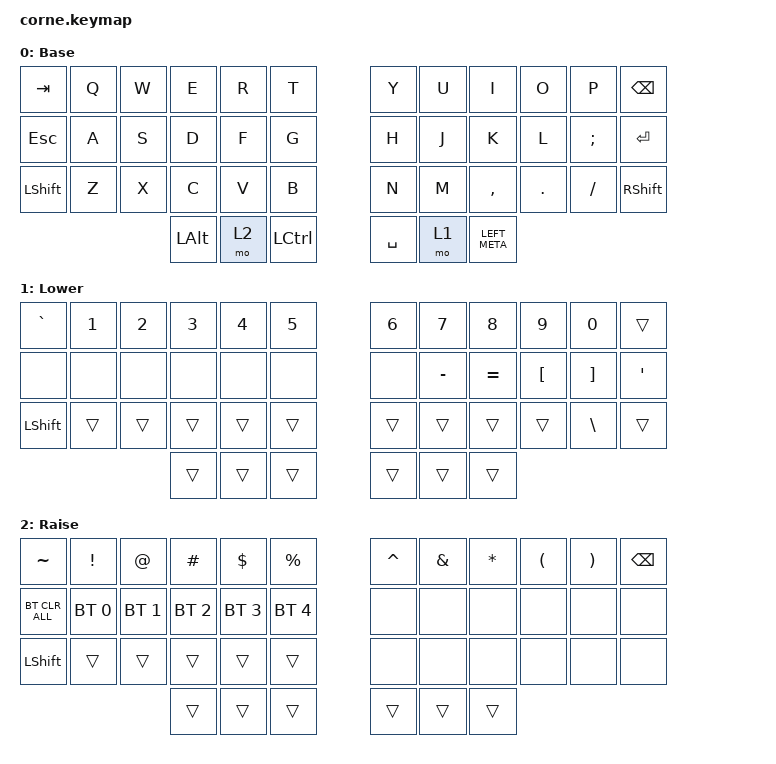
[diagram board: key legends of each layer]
/*
 * Copyright (c) 2020 The ZMK Contributors
 *
 * SPDX-License-Identifier: MIT
 */

#include <behaviors.dtsi>
#include <dt-bindings/zmk/bt.h>
#include <dt-bindings/zmk/keys.h>

/ {
    keymap {
        compatible = "zmk,keymap";

        default_layer {
            // -----------------------------------------------------------------------------------------
            // |  TAB |  Q  |  W  |  E  |  R  |  T  |   |  Y  |  U   |  I  |  O  |  P  | BKSP |
            // | CTRL |  A  |  S  |  D  |  F  |  G  |   |  H  |  J   |  K  |  L  |  ;  |  '   |
            // | SHFT |  Z  |  X  |  C  |  V  |  B  |   |  N  |  M   |  ,  |  .  |  /  | ESC  |
            //                    | GUI | LWR | SPC |   | ENT | RSE  | ALT |

            display-name = "Base";
            bindings = <
&kp TAB    &kp Q  &kp W  &kp E         &kp R  &kp T               &kp Y      &kp U  &kp I          &kp O    &kp P     &kp BSPC
&kp ESC    &kp A  &kp S  &kp D         &kp F  &kp G               &kp H      &kp J  &kp K          &kp L    &kp SEMI  &kp ENTER
&kp LSHFT  &kp Z  &kp X  &kp C         &kp V  &kp B               &kp N      &kp M  &kp COMMA      &kp DOT  &kp FSLH  &kp RIGHT_SHIFT
                         &kp LEFT_ALT  &mo 2  &kp LEFT_CONTROL    &kp SPACE  &mo 1  &kp LEFT_META
            >;
        };

        lower_layer {
            // -----------------------------------------------------------------------------------------
            // |  TAB |  1  |  2  |  3  |  4  |  5  |   |  6  |  7  |  8  |  9  |  0  | BKSP |
            // | BTCLR| BT1 | BT2 | BT3 | BT4 | BT5 |   | LFT | DWN |  UP | RGT |     |      |
            // | SHFT |     |     |     |     |     |   |     |     |     |     |     |      |
            //                    | GUI |     | SPC |   | ENT |     | ALT |

            display-name = "Lower";
            bindings = <
&kp GRAVE  &kp N1  &kp N2  &kp N3  &kp N4  &kp N5    &kp N6  &kp N7     &kp N8     &kp N9            &kp N0             &trans
&none      &none   &none   &none   &none   &none     &none   &kp MINUS  &kp EQUAL  &kp LEFT_BRACKET  &kp RIGHT_BRACKET  &kp APOS
&kp LSHFT  &trans  &trans  &trans  &trans  &trans    &trans  &trans     &trans     &trans            &kp BACKSLASH      &trans
                           &trans  &trans  &trans    &trans  &trans     &trans
            >;
        };

        raise_layer {
            // -----------------------------------------------------------------------------------------
            // |  TAB |  !  |  @  |  #  |  $  |  %  |   |  ^  |  &  |  *  |  (  |  )  | BKSP |
            // | CTRL |     |     |     |     |     |   |  -  |  =  |  [  |  ]  |  \  |  `   |
            // | SHFT |     |     |     |     |     |   |  _  |  +  |  {  |  }  | "|" |  ~   |
            //                    | GUI |     | SPC |   | ENT |     | ALT |

            display-name = "Raise";
            bindings = <
&kp TILDE       &kp EXCL      &kp AT        &kp HASH      &kp DLLR      &kp PRCNT       &kp CARET  &kp AMPS  &kp ASTRK  &kp LPAR  &kp RPAR  &kp BSPC
&bt BT_CLR_ALL  &bt BT_SEL 0  &bt BT_SEL 1  &bt BT_SEL 2  &bt BT_SEL 3  &bt BT_SEL 4    &none      &none     &none      &none     &none     &none
&kp LSHFT       &trans        &trans        &trans        &trans        &trans          &none      &none     &none      &none     &none     &none
                                            &trans        &trans        &trans          &trans     &trans    &trans
            >;
        };
    };
};
